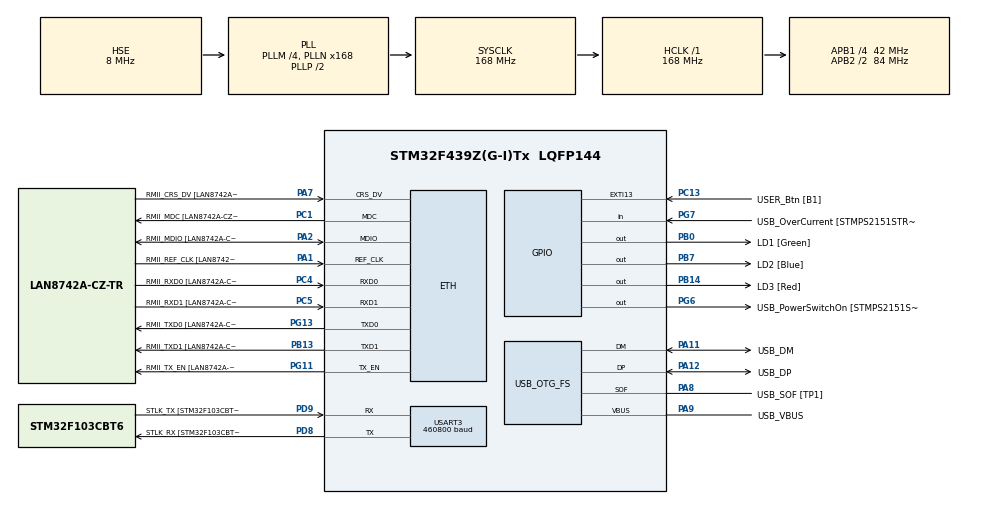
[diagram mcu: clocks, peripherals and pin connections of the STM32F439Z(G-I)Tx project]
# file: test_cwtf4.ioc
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Dma.Request0=USART3_RX
Dma.USART3_RX.0.Direction=DMA_PERIPH_TO_MEMORY
Dma.USART3_RX.0.FIFOMode=DMA_FIFOMODE_DISABLE
Dma.USART3_RX.0.Instance=DMA1_Stream1
Dma.USART3_RX.0.MemDataAlignment=DMA_MDATAALIGN_BYTE
Dma.USART3_RX.0.MemInc=DMA_MINC_ENABLE
Dma.USART3_RX.0.Mode=DMA_NORMAL
Dma.USART3_RX.0.PeriphDataAlignment=DMA_PDATAALIGN_BYTE
Dma.USART3_RX.0.PeriphInc=DMA_PINC_DISABLE
Dma.USART3_RX.0.Priority=DMA_PRIORITY_HIGH
ETH.MediaInterface=HAL_ETH_RMII_MODE
ETH.PHY_Name=LAN8742A_PHY_ADDRESS
ETH.PHY_Value=0
ETH.PhyAddress=0
Mcu.Family=STM32F4
Mcu.Name=STM32F439Z(G-I)Tx
Mcu.Package=LQFP144
NVIC.DMA1_Stream1_IRQn=true\:0\:0\:false\:false\:true\:false\:true\:true
NVIC.PriorityGroup=NVIC_PRIORITYGROUP_4
NVIC.USART3_IRQn=true\:0\:0\:false\:false\:true\:true\:true\:true
PA1.GPIO_Label=RMII_REF_CLK [LAN8742A-CZ-TR_REFCLK0]
PA1.Mode=RMII
PA1.Signal=ETH_REF_CLK
PA10.GPIO_Label=USB_ID
PA10.Signal=USB_OTG_FS_ID
PA11.GPIO_Label=USB_DM
PA11.Mode=Device_Only
PA11.Signal=USB_OTG_FS_DM
PA12.GPIO_Label=USB_DP
PA12.Mode=Device_Only
PA12.Signal=USB_OTG_FS_DP
PA13.GPIO_Label=TMS
PA13.Mode=Serial_Wire
PA13.Signal=SYS_JTMS-SWDIO
PA14.GPIO_Label=TCK
PA14.Mode=Serial_Wire
PA14.Signal=SYS_JTCK-SWCLK
PA2.GPIO_Label=RMII_MDIO [LAN8742A-CZ-TR_MDIO]
PA2.Mode=RMII
PA2.Signal=ETH_MDIO
PA7.GPIO_Label=RMII_CRS_DV [LAN8742A-CZ-TR_CRS_DV]
PA7.Mode=RMII
PA7.Signal=ETH_CRS_DV
PA8.GPIO_Label=USB_SOF [TP1]
PA8.Mode=Activate_SOF_FS
PA8.Signal=USB_OTG_FS_SOF
PA9.GPIO_Label=USB_VBUS
PA9.Mode=Activate_VBUS
PA9.Signal=USB_OTG_FS_VBUS
PB0.GPIO_Label=LD1 [Green]
PB0.Signal=GPIO_Output
PB13.GPIO_Label=RMII_TXD1 [LAN8742A-CZ-TR_TXD1]
PB13.Mode=RMII
PB13.Signal=ETH_TXD1
PB14.GPIO_Label=LD3 [Red]
PB14.Signal=GPIO_Output
PB7.GPIO_Label=LD2 [Blue]
PB7.Signal=GPIO_Output
PC1.GPIO_Label=RMII_MDC [LAN8742A-CZ-TR_MDC]
PC1.Mode=RMII
PC1.Signal=ETH_MDC
PC13.GPIO_Label=USER_Btn [B1]
PC13.Signal=GPXTI13
PC14/OSC32_IN.Mode=LSE-External-Oscillator
PC14/OSC32_IN.Signal=RCC_OSC32_IN
PC15/OSC32_OUT.Mode=LSE-External-Oscillator
PC15/OSC32_OUT.Signal=RCC_OSC32_OUT
PC4.GPIO_Label=RMII_RXD0 [LAN8742A-CZ-TR_RXD0]
PC4.Mode=RMII
PC4.Signal=ETH_RXD0
PC5.GPIO_Label=RMII_RXD1 [LAN8742A-CZ-TR_RXD1]
PC5.Mode=RMII
PC5.Signal=ETH_RXD1
PD8.GPIO_Label=STLK_RX [STM32F103CBT6_PA3]
PD8.Mode=Asynchronous
PD8.Signal=USART3_TX
PD9.GPIO_Label=STLK_TX [STM32F103CBT6_PA2]
PD9.Mode=Asynchronous
PD9.Signal=USART3_RX
PG11.GPIO_Label=RMII_TX_EN [LAN8742A-CZ-TR_TXEN]
PG11.Mode=RMII
PG11.Signal=ETH_TX_EN
PG13.GPIO_Label=RMII_TXD0 [LAN8742A-CZ-TR_TXD0]
PG13.Mode=RMII
PG13.Signal=ETH_TXD0
PG6.GPIO_Label=USB_PowerSwitchOn [STMPS2151STR_EN]
PG6.Signal=GPIO_Output
PG7.GPIO_Label=USB_OverCurrent [STMPS2151STR_FAULT]
PG7.Signal=GPIO_Input
PH0/OSC_IN.GPIO_Label=MCO [STM32F103CBT6_PA8]
PH0/OSC_IN.Mode=HSE-External-Clock-Source
PH0/OSC_IN.Signal=RCC_OSC_IN
PH1/OSC_OUT.Mode=HSE-External-Clock-Source
PH1/OSC_OUT.Signal=RCC_OSC_OUT
ProjectManager.HeapSize=0x200
ProjectManager.StackSize=0x400
ProjectManager.TargetToolchain=STM32CubeIDE
RCC.48MHZClocksFreq_Value=48000000
RCC.AHBFreq_Value=168000000
RCC.APB1CLKDivider=RCC_HCLK_DIV4
RCC.APB1Freq_Value=42000000
RCC.APB1TimFreq_Value=84000000
RCC.APB2CLKDivider=RCC_HCLK_DIV2
RCC.APB2Freq_Value=84000000
RCC.APB2TimCLKDivider=2
RCC.APB2TimFreq_Value=168000000
RCC.CortexFreq_Value=168000000
RCC.HCLKFreq_Value=168000000
RCC.HSE_VALUE=8000000
RCC.HSI_VALUE=16000000
RCC.PLLM=4
RCC.PLLMUL=RCC_PLL_MUL9
RCC.PLLN=168
RCC.PLLQ=7
RCC.PRESCALERUSB=RCC_USBCLKSOURCE_PLL_DIV1_5
RCC.SYSCLKFreq_VALUE=168000000
RCC.SYSCLKSource=RCC_SYSCLKSOURCE_PLLCLK
RCC.SYSCLKSourceVirtual=RCC_SYSCLKSOURCE_PLLCLK
RCC.USBFreq_Value=48000000
RCC.VCOOutputFreq_Value=336000000
USART3.BaudRate=460800
USART3.VirtualMode=VM_ASYNC
USB_OTG_FS.VirtualMode=Device_Only
board=NUCLEO-F439ZI

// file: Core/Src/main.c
/* USER CODE BEGIN Header */
/**
  ******************************************************************************
  * @file           : main.c
  * @brief          : Main program body
  ******************************************************************************
  * @attention
  *
  * Copyright (c) 2026 STMicroelectronics.
  * All rights reserved.
  *
  * This software is licensed under terms that can be found in the LICENSE file
  * in the root directory of this software component.
  * If no LICENSE file comes with this software, it is provided AS-IS.
  *
  ******************************************************************************
  */
/* USER CODE END Header */
#include "main.h"
#include "string.h"

/* USER CODE BEGIN Includes */
#include "arm_math.h"
#include <string.h>
#include <stdbool.h>
#include <math.h>
/* USER CODE END Includes */

/* USER CODE BEGIN PTD */
typedef struct {
    uint16_t binStart;
    uint16_t binEnd;
} band_def_t;
/* USER CODE END PTD */

/* USER CODE BEGIN PD */
#define FS_HZ               16000 //frecuencia fija del dataset
#define TOTAL_SAMPLES       16000 //muestras totales (para 1 segundo)
#define FFT_LEN             256 //tamañno de la ventana a procesar
#define HOP_LEN             128 //tamaño del overlap
#define N_FRAMES            (((TOTAL_SAMPLES - FFT_LEN) / HOP_LEN) + 1)

#define UART_DMA_RX_BYTES   2
#define NBANDS              24 //numero de bandas a guardar
/* USER CODE END PD */

ETH_TxPacketConfig TxConfig;
ETH_DMADescTypeDef  DMARxDscrTab[ETH_RX_DESC_CNT]; /* Ethernet Rx DMA Descriptors */
ETH_DMADescTypeDef  DMATxDscrTab[ETH_TX_DESC_CNT]; /* Ethernet Tx DMA Descriptors */

ETH_HandleTypeDef heth;

UART_HandleTypeDef huart3;
DMA_HandleTypeDef hdma_usart3_rx;

PCD_HandleTypeDef hpcd_USB_OTG_FS;

/* USER CODE BEGIN PV */
static const band_def_t bands[NBANDS] = {
    { 1, 1 },     // Banda 1: ~31 Hz
    { 2, 2 },     // Banda 2: ~62 Hz
    { 3, 3 },     // Banda 3: ~93 Hz
    { 4, 4 },     // Banda 4: ~125 Hz
    { 5, 5 },     // Banda 5: ~156 Hz
    { 6, 7 },     // Banda 6: ~187-218 Hz
    { 8, 9 },     // Banda 7: ~250-281 Hz
    { 10, 11 },   // Banda 8: ~312-343 Hz
    { 12, 14 },   // Banda 9: ~375-437 Hz
    { 15, 17 },   // Banda 10: ~468-531 Hz
    { 18, 21 },   // Banda 11: ~562-656 Hz
    { 22, 25 },   // Banda 12: ~687-781 Hz
    { 26, 31 },   // Banda 13: ~812-968 Hz
    { 32, 38 },   // Banda 14: ~1000-1187 Hz
    { 39, 46 },   // Banda 15: ~1218-1437 Hz
    { 47, 56 },   // Banda 16: ~1468-1750 Hz
    { 57, 68 },   // Banda 17: ~1781-2125 Hz
    { 69, 82 },   // Banda 18: ~2156-2562 Hz
    { 83, 99 },   // Banda 19: ~2593-3093 Hz
    { 100, 119 }, // Banda 20: ~3125-3718 Hz
    { 120, 143 }, // Banda 21: ~3750-4468 Hz
    { 144, 171 }, // Banda 22: ~4500-5343 Hz
    { 172, 205 }, // Banda 23: ~5375-6406 Hz
    { 206, 240 }  // Banda 24: ~6437-7500 Hz
};
static int16_t pcm16_1s[TOTAL_SAMPLES]; //entrada por uart
static volatile uint32_t pcmWriteIndex = 0;
static volatile bool oneSecondReady = false; //flag para indicar operación lista

//Variables de fft:
static float32_t fftIn[FFT_LEN];
static float32_t fftOut[FFT_LEN];
static float32_t magOut[FFT_LEN / 2];
static float32_t hanningWindow[FFT_LEN]; //ventana hanning

static float32_t bandEnergy[NBANDS][N_FRAMES]; //matriz final que será enviada
static arm_rfft_fast_instance_f32 rfft_f32; //variable de cmsis-dsp
/* USER CODE END PV */

void SystemClock_Config(void);
static void MX_GPIO_Init(void);
static void MX_DMA_Init(void);
static void MX_ETH_Init(void);
static void MX_USART3_UART_Init(void);
static void MX_USB_OTG_FS_PCD_Init(void);
/* USER CODE BEGIN PFP */
void AudioDSP_Init(void);
void AudioDSP_Task(void);
static void InitHanningWindow(void);
static void StartUartDmaReception(void);
static void Process1sPseudoCWT_F32(void);
static void SendBandMatrix(void);
/* USER CODE END PFP */

int main(void)
{

  /* MCU Configuration--------------------------------------------------------*/

  /* Reset of all peripherals, Initializes the Flash interface and the Systick. */
  HAL_Init();

  /* Configure the system clock */
  SystemClock_Config();

  /* Initialize all configured peripherals */
  MX_GPIO_Init();
  MX_DMA_Init();
  MX_ETH_Init();
  MX_USART3_UART_Init();
  MX_USB_OTG_FS_PCD_Init();
  /* USER CODE BEGIN 2 */
  AudioDSP_Init();
  /* USER CODE END 2 */

  /* Infinite loop */
  while (1)
  {

    /* USER CODE BEGIN 3 */
	  AudioDSP_Task();
  }
  /* USER CODE END 3 */
}

void SystemClock_Config(void)
{
  RCC_OscInitTypeDef RCC_OscInitStruct = {0};
  RCC_ClkInitTypeDef RCC_ClkInitStruct = {0};

  /** Configure the main internal regulator output voltage
  */
  __HAL_RCC_PWR_CLK_ENABLE();
  __HAL_PWR_VOLTAGESCALING_CONFIG(PWR_REGULATOR_VOLTAGE_SCALE1);

  /** Initializes the RCC Oscillators according to the specified parameters
  * in the RCC_OscInitTypeDef structure.
  */
  RCC_OscInitStruct.OscillatorType = RCC_OSCILLATORTYPE_HSE;
  RCC_OscInitStruct.HSEState = RCC_HSE_BYPASS;
  RCC_OscInitStruct.PLL.PLLState = RCC_PLL_ON;
  RCC_OscInitStruct.PLL.PLLSource = RCC_PLLSOURCE_HSE;
  RCC_OscInitStruct.PLL.PLLM = 4;
  RCC_OscInitStruct.PLL.PLLN = 168;
  RCC_OscInitStruct.PLL.PLLP = RCC_PLLP_DIV2;
  RCC_OscInitStruct.PLL.PLLQ = 7;
  if (HAL_RCC_OscConfig(&RCC_OscInitStruct) != HAL_OK)
  {
    Error_Handler();
  }

  /** Initializes the CPU, AHB and APB buses clocks
  */
  RCC_ClkInitStruct.ClockType = RCC_CLOCKTYPE_HCLK|RCC_CLOCKTYPE_SYSCLK
                              |RCC_CLOCKTYPE_PCLK1|RCC_CLOCKTYPE_PCLK2;
  RCC_ClkInitStruct.SYSCLKSource = RCC_SYSCLKSOURCE_PLLCLK;
  RCC_ClkInitStruct.AHBCLKDivider = RCC_SYSCLK_DIV1;
  RCC_ClkInitStruct.APB1CLKDivider = RCC_HCLK_DIV4;
  RCC_ClkInitStruct.APB2CLKDivider = RCC_HCLK_DIV2;

  if (HAL_RCC_ClockConfig(&RCC_ClkInitStruct, FLASH_LATENCY_5) != HAL_OK)
  {
    Error_Handler();
  }
}

static void MX_ETH_Init(void)
{

   static uint8_t MACAddr[6];

  heth.Instance = ETH;
  MACAddr[0] = 0x00;
  MACAddr[1] = 0x80;
  MACAddr[2] = 0xE1;
  MACAddr[3] = 0x00;
  MACAddr[4] = 0x00;
  MACAddr[5] = 0x00;
  heth.Init.MACAddr = &MACAddr[0];
  heth.Init.MediaInterface = HAL_ETH_RMII_MODE;
  heth.Init.TxDesc = DMATxDscrTab;
  heth.Init.RxDesc = DMARxDscrTab;
  heth.Init.RxBuffLen = 1524;

  if (HAL_ETH_Init(&heth) != HAL_OK)
  {
    Error_Handler();
  }

  memset(&TxConfig, 0 , sizeof(ETH_TxPacketConfig));
  TxConfig.Attributes = ETH_TX_PACKETS_FEATURES_CSUM | ETH_TX_PACKETS_FEATURES_CRCPAD;
  TxConfig.ChecksumCtrl = ETH_CHECKSUM_IPHDR_PAYLOAD_INSERT_PHDR_CALC;
  TxConfig.CRCPadCtrl = ETH_CRC_PAD_INSERT;

}

static void MX_USART3_UART_Init(void)
{

  huart3.Instance = USART3;
  huart3.Init.BaudRate = 460800;
  huart3.Init.WordLength = UART_WORDLENGTH_8B;
  huart3.Init.StopBits = UART_STOPBITS_1;
  huart3.Init.Parity = UART_PARITY_NONE;
  huart3.Init.Mode = UART_MODE_TX_RX;
  huart3.Init.HwFlowCtl = UART_HWCONTROL_NONE;
  huart3.Init.OverSampling = UART_OVERSAMPLING_16;
  if (HAL_UART_Init(&huart3) != HAL_OK)
  {
    Error_Handler();
  }

}

static void MX_USB_OTG_FS_PCD_Init(void)
{

  hpcd_USB_OTG_FS.Instance = USB_OTG_FS;
  hpcd_USB_OTG_FS.Init.dev_endpoints = 4;
  hpcd_USB_OTG_FS.Init.speed = PCD_SPEED_FULL;
  hpcd_USB_OTG_FS.Init.dma_enable = DISABLE;
  hpcd_USB_OTG_FS.Init.phy_itface = PCD_PHY_EMBEDDED;
  hpcd_USB_OTG_FS.Init.Sof_enable = ENABLE;
  hpcd_USB_OTG_FS.Init.low_power_enable = DISABLE;
  hpcd_USB_OTG_FS.Init.lpm_enable = DISABLE;
  hpcd_USB_OTG_FS.Init.vbus_sensing_enable = ENABLE;
  hpcd_USB_OTG_FS.Init.use_dedicated_ep1 = DISABLE;
  if (HAL_PCD_Init(&hpcd_USB_OTG_FS) != HAL_OK)
  {
    Error_Handler();
  }

}

static void MX_DMA_Init(void)
{

  /* DMA controller clock enable */
  __HAL_RCC_DMA1_CLK_ENABLE();

  /* DMA interrupt init */
  /* DMA1_Stream1_IRQn interrupt configuration */
  HAL_NVIC_SetPriority(DMA1_Stream1_IRQn, 0, 0);
  HAL_NVIC_EnableIRQ(DMA1_Stream1_IRQn);

}

static void MX_GPIO_Init(void)
{
  GPIO_InitTypeDef GPIO_InitStruct = {0};

  /* GPIO Ports Clock Enable */
  __HAL_RCC_GPIOC_CLK_ENABLE();
  __HAL_RCC_GPIOH_CLK_ENABLE();
  __HAL_RCC_GPIOA_CLK_ENABLE();
  __HAL_RCC_GPIOB_CLK_ENABLE();
  __HAL_RCC_GPIOD_CLK_ENABLE();
  __HAL_RCC_GPIOG_CLK_ENABLE();

  /*Configure GPIO pin Output Level */
  HAL_GPIO_WritePin(GPIOB, LD1_Pin|LD3_Pin|LD2_Pin, GPIO_PIN_RESET);

  /*Configure GPIO pin Output Level */
  HAL_GPIO_WritePin(USB_PowerSwitchOn_GPIO_Port, USB_PowerSwitchOn_Pin, GPIO_PIN_RESET);

  /*Configure GPIO pin : USER_Btn_Pin */
  GPIO_InitStruct.Pin = USER_Btn_Pin;
  GPIO_InitStruct.Mode = GPIO_MODE_IT_RISING;
  GPIO_InitStruct.Pull = GPIO_NOPULL;
  HAL_GPIO_Init(USER_Btn_GPIO_Port, &GPIO_InitStruct);

  /*Configure GPIO pins : LD1_Pin LD3_Pin LD2_Pin */
  GPIO_InitStruct.Pin = LD1_Pin|LD3_Pin|LD2_Pin;
  GPIO_InitStruct.Mode = GPIO_MODE_OUTPUT_PP;
  GPIO_InitStruct.Pull = GPIO_NOPULL;
  GPIO_InitStruct.Speed = GPIO_SPEED_FREQ_LOW;
  HAL_GPIO_Init(GPIOB, &GPIO_InitStruct);

  /*Configure GPIO pin : USB_PowerSwitchOn_Pin */
  GPIO_InitStruct.Pin = USB_PowerSwitchOn_Pin;
  GPIO_InitStruct.Mode = GPIO_MODE_OUTPUT_PP;
  GPIO_InitStruct.Pull = GPIO_NOPULL;
  GPIO_InitStruct.Speed = GPIO_SPEED_FREQ_LOW;
  HAL_GPIO_Init(USB_PowerSwitchOn_GPIO_Port, &GPIO_InitStruct);

  /*Configure GPIO pin : USB_OverCurrent_Pin */
  GPIO_InitStruct.Pin = USB_OverCurrent_Pin;
  GPIO_InitStruct.Mode = GPIO_MODE_INPUT;
  GPIO_InitStruct.Pull = GPIO_NOPULL;
  HAL_GPIO_Init(USB_OverCurrent_GPIO_Port, &GPIO_InitStruct);

}

/* USER CODE BEGIN 4 */
void AudioDSP_Init(void)
{
    // Inicializar FFT en modo flotante rápido
    arm_rfft_fast_init_f32(&rfft_f32, FFT_LEN);
    memset((void*)pcm16_1s, 0, sizeof(pcm16_1s));
    memset((void*)bandEnergy, 0, sizeof(bandEnergy));

    InitHanningWindow();
    StartUartDmaReception();
}

static void InitHanningWindow(void) //ventana hanning
{
    for (uint16_t i = 0; i < FFT_LEN; i++)
    {
        // La ventana de Hanning ahora usa decimales reales de 0.0 a 1.0
        hanningWindow[i] = 0.5f * (1.0f - cosf(2.0f * 3.14159265358979f * i / (FFT_LEN - 1)));
    }
}

static void StartUartDmaReception(void)
{
	HAL_UART_Receive_DMA(&huart3, (uint8_t*)pcm16_1s, TOTAL_SAMPLES * 2);
}

void HAL_UART_RxCpltCallback(UART_HandleTypeDef *huart)
{
    if (huart->Instance == USART3)
    {

        oneSecondReady = true; //está listo el segundo a procesar
    }
}

void AudioDSP_Task(void)
{
    if (oneSecondReady)
    {
        oneSecondReady = false;
        Process1sPseudoCWT_F32();
        SendBandMatrix();
       // pcmWriteIndex = 0;
        StartUartDmaReception();
    }
}

static void Process1sPseudoCWT_F32(void)
{
    uint32_t frameIdx = 0;
    memset((void*)bandEnergy, 0, sizeof(bandEnergy));

    for (uint32_t start = 0; start + FFT_LEN <= TOTAL_SAMPLES; start += HOP_LEN)
    {
        for (uint32_t n = 0; n < FFT_LEN; n++)
            fftIn[n] = (float32_t)pcm16_1s[start + n];

        arm_mult_f32(fftIn, hanningWindow, fftIn, FFT_LEN);
        arm_rfft_fast_f32(&rfft_f32, fftIn, fftOut, 0);

        magOut[0] = fabsf(fftOut[0]);  // DC
        for (uint32_t k = 1; k < FFT_LEN / 2; k++)
        {
            float32_t re = fftOut[2*k];
            float32_t im = fftOut[2*k + 1];
            magOut[k] = sqrtf(re*re + im*im);
        }

        for (uint32_t b = 0; b < NBANDS; b++)
        {
            float32_t acc = 0.0f;
            for (uint32_t k = bands[b].binStart; k <= bands[b].binEnd; k++)
                acc += magOut[k];
            bandEnergy[b][frameIdx] = acc;
        }

        frameIdx++;
        if (frameIdx >= N_FRAMES) break;
    }
}
static void SendBandMatrix(void)
{
    const uint8_t syncHeader[4] = {255, 170, 255, 170}; //header para debuggeo

    HAL_UART_Transmit(&huart3, (uint8_t*)syncHeader, sizeof(syncHeader), HAL_MAX_DELAY);
    HAL_UART_Transmit(&huart3, (uint8_t*)bandEnergy, sizeof(bandEnergy), HAL_MAX_DELAY);
}

void HAL_UART_ErrorCallback(UART_HandleTypeDef *huart)
{
    if (huart->Instance == USART3)
    {

        volatile uint32_t errorCode = huart->ErrorCode;
        __HAL_UART_CLEAR_OREFLAG(huart);
        StartUartDmaReception();
    }
}
/* USER CODE END 4 */

void Error_Handler(void)
{
  __disable_irq();
  while (1)
  {
  }
}
